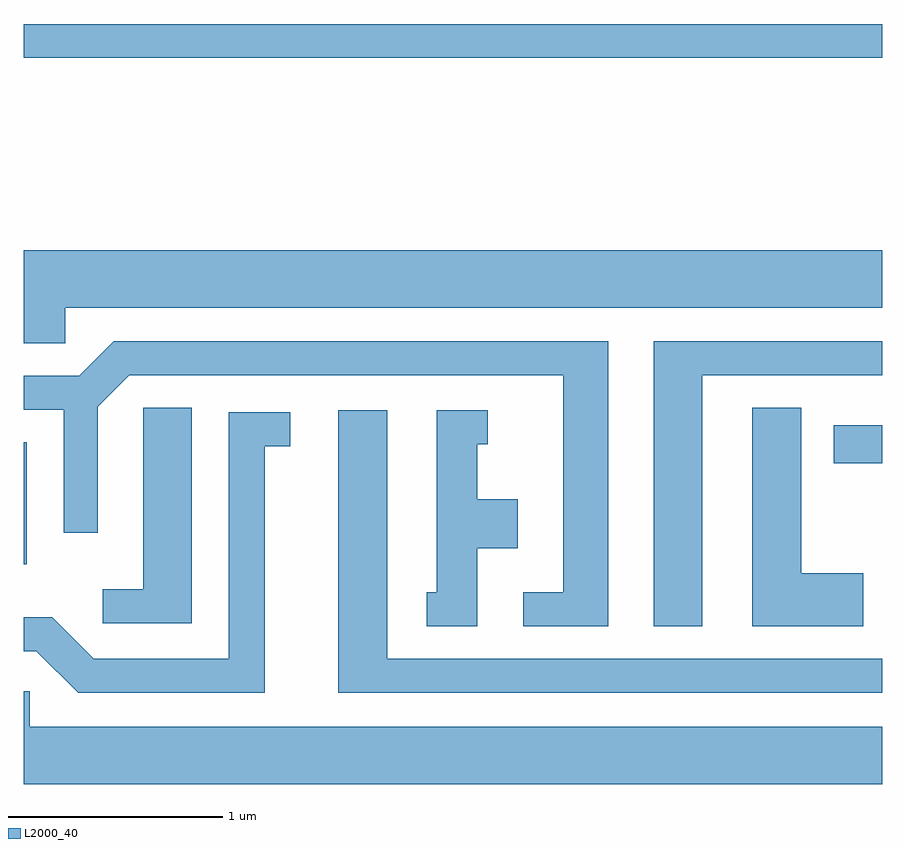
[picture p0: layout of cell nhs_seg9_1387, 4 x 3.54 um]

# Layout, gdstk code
import gdstk
lib = gdstk.Library(unit=1e-6, precision=1e-09)
def R(c, l, rs):  # rectangles x0, y0, x1, y1
    for r in rs: c.add(gdstk.rectangle(r[:2], r[2:], *l))
def P(c, l, *ps):  # polygons
    for p in ps: c.add(gdstk.Polygon(p, *l))
L2000_40 = (2000, 40)

nhs_seg9_1387 = lib.new_cell('nhs_seg9_1387')
R(nhs_seg9_1387, L2000_40, [(225.611,1999.501,225.624,2000.069), (229.386,1999.971,229.611,2000.149), (225.611,2001.861,229.611,2002.019)])
P(nhs_seg9_1387, L2000_40, [(225.804,2000.696),(229.611,2000.696),(229.611,2000.964),(225.611,2000.964),(225.611,2000.531),(225.804,2000.531)],
  [(228.334,2000.539),(226.029,2000.539),(225.869,2000.379),(225.611,2000.379),(225.611,2000.221),(225.796,2000.221),(225.796,1999.648),(225.954,1999.648),(225.954,2000.234),(226.102,2000.381),(228.126,2000.381),(228.126,1999.369),(227.938,1999.369),(227.938,1999.211),(228.334,1999.211)],
  [(228.774,2000.381),(229.611,2000.381),(229.611,2000.539),(228.546,2000.539),(228.546,1999.211),(228.774,1999.211)],
  [(229.524,1999.459),(229.234,1999.459),(229.234,2000.229),(229.006,2000.229),(229.006,1999.211),(229.524,1999.211)],
  [(226.394,2000.229),(226.166,2000.229),(226.166,1999.384),(225.978,1999.384),(225.978,1999.226),(226.394,1999.226)],
  [(229.611,1999.059),(227.304,1999.059),(227.304,2000.219),(227.076,2000.219),(227.076,1998.901),(229.611,1998.901)],
  [(227.724,1999.576),(227.914,1999.576),(227.914,1999.804),(227.724,1999.804),(227.724,2000.061),(227.773,2000.061),(227.773,2000.219),(227.536,2000.219),(227.536,1999.369),(227.488,1999.369),(227.488,1999.211),(227.724,1999.211)],
  [(226.734,2000.051),(226.853,2000.051),(226.853,2000.209),(226.566,2000.209),(226.566,1999.059),(225.937,1999.059),(225.742,1999.254),(225.611,1999.254),(225.611,1999.096),(225.669,1999.096),(225.864,1998.901),(226.734,1998.901)],
  [(229.611,1998.744),(225.639,1998.744),(225.639,1998.909),(225.611,1998.909),(225.611,1998.476),(229.611,1998.476)])

lib.write_gds('nhs_seg9_1387.gds')
